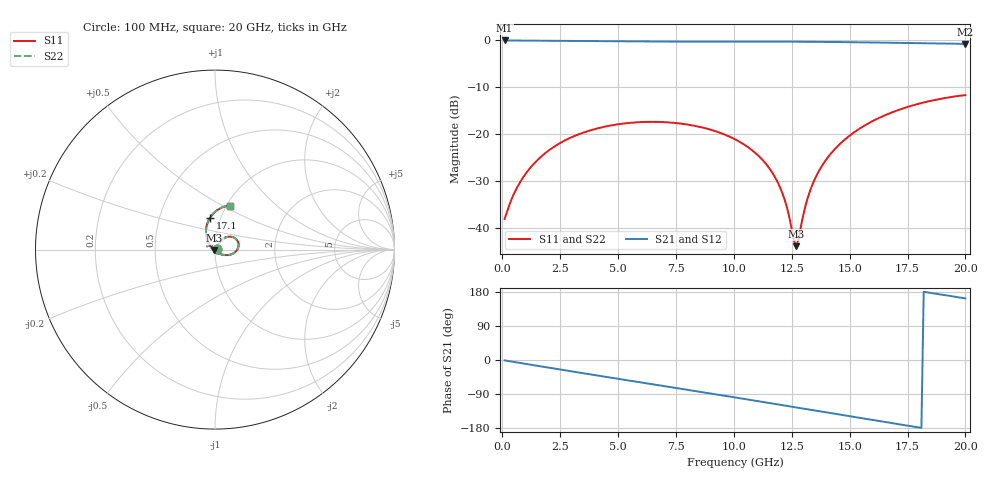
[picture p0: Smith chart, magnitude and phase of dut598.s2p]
! Touchstone file exported from HFSS 2026.1.0
!  File:  C:/ffzhzh/LocalFiles/Ansys_Project_Files/temp_train_TSV_RDL_598_1783121618_37876.aedt
!  Generated:  07:40:36 AM Jul  4, 2026
!  Design:  TSV_RDL
!  Project:  temp_train_TSV_RDL_598_1783121618_37876
! Variables:
!  h_bsmrdl = 3.92um
!  h_ox = 20um
!  h_rdl = 5um
!  h_sub = 74.73um
!  h_tmrdl = 5.04um
!  h_tsv = 74.73um
!  h_via = 3um
!  l_bsmrdl = 140.76um
!  l_sub = 2641.71um
!  l_tmrdl = 429.32um
!  m_sub = 200um
!  pitch = 33.32um
!  r_tsv = 14.72um
!  s_tmrdl = 10um
!  w_bsmrdl = 20.51um
!  w_sub = 500um
!  w_tmrdl = 13.54um
!  x_tsv_center1 = 436.09um
!  x_tsv_center2 = 597.36um
!  x_tsv_center3 = 1040.22um
!  x_tsv_center4 = 1201.49um
!  x_tsv_center5 = 1644.35um
!  x_tsv_center6 = 1805.62um
# GHz S MA R 50.000000
! Terminal data exported
! Port[1] = TM_RDL1_1_T1
! Port[2] = TM_RDL5_1_T1
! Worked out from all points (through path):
!   200 points, 100 MHz to 20 GHz, reference 50 ohm
!   highest |S21| = -0.10 dB at 100 MHz (marker M1); lowest = -0.8 dB at 20 GHz (marker M2)
!   group delay of S21, straight-line fit = 27.4 ps
!   lowest |S11| = -43.8 dB at 12.7 GHz (marker M3), VSWR 1.01, Z = 49.6 - j0.465 ohm
!   |S11| at or under -10 dB: start of sweep to end of sweep
!   |S22| runs from -43.6 to -11.7 dB; largest |S21 - S12| = 1.7e-14
!   S11 on the Smith chart (normalised r, x): 100 MHz: 1.02, +0.01; 17.1 GHz: 0.89, +0.33; 20 GHz: 1.04, +0.55
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0.1  0.01262 18.5  0.9881 -1.1  0.9881 -1.1  0.01262 18.5
! Gamma 0 0 0 0
! Port Impedance 50 0 50 0
0.6  0.02607 50.5  0.9854 -6.2  0.9854 -6.2  0.02607 50.5
1.3  0.04673 57.0  0.983 -13.2  0.983 -13.2  0.04673 57.0
2.3  0.07537 53.1  0.979 -23.2  0.979 -23.2  0.07537 53.1
3.5  0.104 43.7  0.9733 -35.0  0.9733 -35.0  0.104 43.7
5.1  0.1284 29.4  0.9664 -50.6  0.9664 -50.6  0.1284 29.4
6.8  0.1349 13.5  0.9619 -67.1  0.9619 -67.1  0.1348 13.5
8.6  0.1185 -3.9  0.9604 -84.5  0.9604 -84.5  0.1184 -3.9
10.1  0.08694 -19.4  0.9605 -99.3  0.9605 -99.3  0.08693 -19.4
11.1  0.05781 -31.2  0.9604 -109.2  0.9604 -109.2  0.05779 -31.3
11.8  0.03421 -42.5  0.9599 -116.2  0.9599 -116.2  0.03421 -42.7
12.2  0.01999 -54.4  0.9593 -120.2  0.9593 -120.2  0.02 -54.7
12.6  0.007388 -100.6  0.9585 -124.2  0.9585 -124.2  0.007489 -101.3
12.7  0.006483 -133.6  0.9583 -125.2  0.9583 -125.2  0.006617 -133.8
13.1  0.01763 157.2  0.9571 -129.2  0.9571 -129.2  0.01771 157.6
13.4  0.02943 145.4  0.9561 -132.2  0.9561 -132.2  0.02949 145.7
13.9  0.05004 135.3  0.954 -137.3  0.954 -137.3  0.05009 135.4
14.6  0.0796 125.6  0.9504 -144.3  0.9504 -144.3  0.07965 125.7
15.5  0.1175 115.3  0.9445 -153.4  0.9445 -153.4  0.1176 115.4
16.7  0.1655 102.7  0.935 -165.3  0.935 -165.3  0.1656 102.8
17.1  0.1804 98.6  0.9316 -169.3  0.9316 -169.3  0.1804 98.7
20  0.2601 70.6  0.9089 162.6  0.9089 162.6  0.2602 70.7
